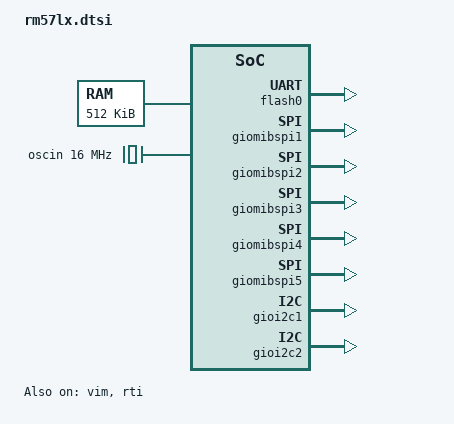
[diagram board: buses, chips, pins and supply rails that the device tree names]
/**
 * Copyright (c) 2024 Rahul Arasikere <arasikere.rahul@gmail.com>
 *
 * SPDX-License-Identifier: Apache-2.0
 */

#include <mem.h>
#include <freq.h>
#include <arm/armv7-r.dtsi>
#include <zephyr/dt-bindings/interrupt-controller/ti-vim.h>

/ {

    chosen {
        zephyr,flash = &flash0;
        zephyr,sram = &sram0;
    };

    cpus {
        #address-cells = <1>;
        #size-cells = <0>;

        cpu@0 {
            compatible = "arm,cortex-r5f";
            reg = <0>;
        };
    };

    sram0: memory@8000000 {
        compatible = "mmio-sram";
        reg = <0x08000000 DT_SIZE_K(512)>;
    };

    flash0: serial-flash@0 {
        compatible = "soc-nv-flash";
        reg = <0x0 DT_SIZE_M(4)>;
    };

    sys1: system-control@ffffff00 {
        compatible = "syscon";
        reg = <0xffffff00 252>;
    };

    sys2: system-control@ffffe100 {
        compatible = "syscon";
        reg = <0xffffe100 256>;
    };

    pcr1: peripheral-control@ffff1000 {
        compatible = "syscon";
        reg = <0xffff1000 1504>;
    };

    pcr2: peripheral-control@fcff1000 {
        compatible = "syscon";
        reg = <0xfcff1000 1504>;
    };

    pcr3: peripheral-control@fff78000 {
        compatible = "syscon";
        reg = <0xfff78000 1504>;
    };

    esm: error-signaling-module@fffff500 {
        compatible = "syscon";
        reg = <0xfffff500 100>;
    };

    clocks {
        oscin: oscin {
            compatible = "fixed-clock";
            clock-frequency = <DT_FREQ_M(16)>;
            #clock-cells = <0>;
            status = "okay";
        };

        ext_clkin1: ext_clkin1 {
            compatible = "fixed-clock";
            clock-frequency = <DT_FREQ_M(8)>;
            #clock-cells = <0>;
            status = "disabled";
        };

        ext_clkin2: ext_clkin2 {
            compatible = "fixed-clock";
            clock-frequency = <DT_FREQ_M(16)>;
            #clock-cells = <0>;
            status = "disabled";
        };

        pll1: pll1 {
            #clock-cells = <0>;
            compatible = "ti,hercules-pll-clock";
            status = "disabled";
        };

        pll2: pll2 {
            #clock-cells = <0>;
            compatible = "ti,hercules-pll-clock";
            status = "disabled";
        };

        lf_lpo: lf_lpo {
            #clock-cells = <0>;
            compatible = "ti,hercules-lpo-clock";
            status = "okay";
        };

        hf_lpo: hf_lpo {
            #clock-cells = <0>;
            compatible = "ti,hercules-lpo-clock";
            status = "okay";
        };
    };

    soc {

        gcm: clock-control {
            compatible = "ti,hercules-gcm";
            #clock-cells = <2>;
        };

        pinctrl: pinctrl@ffff1c00 {
            reg = <0xffff1c00 0x3ff>;
            compatible = "ti,hercules-iomm";
        };

        gpio-controller@fff7bc00 {
            reg = <0xfff7bc00 0x30>;
            compatible = "ti,hercules-gio";

            #address-cells = <1>;
            #size-cells = <1>;

            gioa: gpio@fff7bc34 {
                reg = <0xfff7bc43 0x20>;
                compatible = "ti,hercules-gio";
            };

            giob: gpio@fff7bc54 {
                reg = <0xfff7bc54 0x20>;
                compatible = "ti,hercules-gio";
            };

            giosci1: gpio@fff7e440 {
                reg = <0xfff7e440 0x20>;
                compatible = "ti,hercules-gio";
            };

            giosci2: gpio@fff7e640 {
                reg = <0xfff7e640 0x20>;
                compatible = "ti,hercules-gio";
            };

            giosci3: gpio@fff7e540 {
                reg = <0xfff7e540 0x20>;
                compatible = "ti,hercules-gio";
            };

            giosci4: gpio@fff7e740 {
                reg = <0xfff7e740 0x20>;
                compatible = "ti,hercules-gio";
            };

            giomibspi1: gpio@fff7f418 {
                reg = <0xfff7f418 0x20>;
                compatible = "ti,hercules-gio";
            };

            giomibspi2: gpio@fff7f618 {
                reg = <0xfff7f618 0x20>;
                compatible = "ti,hercules-gio";
            };
            giomibspi3: gpio@fff7f818 {
                reg = <0xfff7f818 0x20>;
                compatible = "ti,hercules-gio";
            };
            giomibspi4: gpio@fff7fa18 {
                reg = <0xfff7fa18 0x20>;
                compatible = "ti,hercules-gio";
            };
            giomibspi5: gpio@fff7fc18 {
                reg = <0xfff7fc18 0x20>;
                compatible = "ti,hercules-gio";
            };

            giohet1: gpio@fff7b84c {
                reg = <0xfff7b84c 0x20>;
                compatible = "ti,hercules-gio";
            };

            giohet2: gpio@fff7b94c {
                reg = <0xfff7b94c 0x20>;
                compatible = "ti,hercules-gio";
            };

            gioi2c1: gpio@fff7d44c {
                reg = <0xfff7d44c 0x20>;
                compatible = "ti,hercules-gio";
            };

            gioi2c2: gpio@fff7d54c {
                reg = <0xfff7d54c 0x20>;
                compatible = "ti,hercules-gio";
            };

            giortp: gpio@fffffa38 {
                reg = <0xfffffa38 0x20>;
                compatible = "ti,hercules-gio";
            };
        };

        vim: interrupt-controller@fffffd00 {
            #address-cells = <0>;
            #interrupt-cells = <4>;
            reg = <0xfffffd00 0x200>;
            compatible = "ti,vim";
            interrupt-controller;
            status = "okay";
        };

        rti: rti@fffffc00 {
            reg = <0xfffffc00 0xbc>;
            interrupts = <0 2 IRQ_TYPE_LEVEL IRQ_DEFAULT_PRIORITY
            0 3 IRQ_TYPE_LEVEL IRQ_DEFAULT_PRIORITY
            0 4 IRQ_TYPE_LEVEL IRQ_DEFAULT_PRIORITY
            0 5 IRQ_TYPE_LEVEL IRQ_DEFAULT_PRIORITY
            0 6 IRQ_TYPE_LEVEL IRQ_DEFAULT_PRIORITY
            0 7 IRQ_TYPE_LEVEL IRQ_DEFAULT_PRIORITY
            0 8 IRQ_TYPE_LEVEL IRQ_DEFAULT_PRIORITY>;
            interrupt-names = "rti0",
                              "rti1",
                              "rti2",
                              "rti3",
                              "rti_overflow0",
                              "rti_overflow1",
                              "rti_timebase1";
            compatible = "ti,hercules-rti-timer";
            interrupt-parent = <&vim>;
            status = "okay"; /* the system clock timer is mandatory */
        };
    };
};
